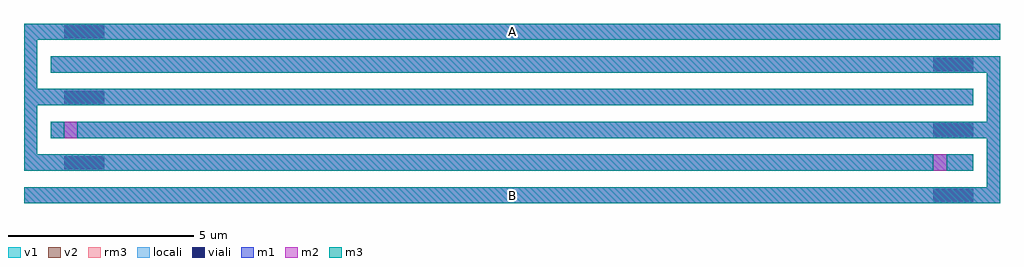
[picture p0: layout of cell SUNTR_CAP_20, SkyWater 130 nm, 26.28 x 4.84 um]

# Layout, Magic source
magic
tech sky130A
magscale 1 2
<< m1 >>
rect 108 -44 5364 44
rect 5292 44 5364 132
rect 108 132 5220 220
rect 5292 132 5364 220
rect 108 220 180 308
rect 5292 220 5364 308
rect 108 308 180 396
rect 252 308 5364 396
rect 108 396 180 484
rect 5292 396 5364 484
rect 108 484 5220 572
rect 5292 484 5364 572
rect 108 572 180 660
rect 5292 572 5364 660
rect 108 660 180 748
rect 252 660 5364 748
rect 108 748 180 836
rect 108 836 5364 924
<< m2 >>
rect 108 -44 5364 44
rect 5292 44 5364 132
rect 108 132 5220 220
rect 5292 132 5364 220
rect 108 220 180 308
rect 5292 220 5364 308
rect 108 308 180 396
rect 252 308 5364 396
rect 108 396 180 484
rect 5292 396 5364 484
rect 108 484 5220 572
rect 5292 484 5364 572
rect 108 572 180 660
rect 5292 572 5364 660
rect 108 660 180 748
rect 252 660 5364 748
rect 108 748 180 836
rect 108 836 5364 924
<< locali >>
rect 108 -44 5364 44
rect 5292 44 5364 132
rect 108 132 5220 220
rect 5292 132 5364 220
rect 108 220 180 308
rect 5292 220 5364 308
rect 108 308 180 396
rect 252 308 5364 396
rect 108 396 180 484
rect 5292 396 5364 484
rect 108 484 5220 572
rect 5292 484 5364 572
rect 108 572 180 660
rect 5292 572 5364 660
rect 108 660 180 748
rect 252 660 5364 748
rect 108 748 180 836
rect 108 836 5364 924
<< v1 >>
rect 5004 -35 5076 -26
rect 5004 -26 5076 -17
rect 5004 -17 5076 -8
rect 5004 -8 5076 0
rect 5004 0 5076 8
rect 5004 8 5076 17
rect 5004 17 5076 26
rect 5004 26 5076 35
rect 5076 -35 5148 -26
rect 5076 -26 5148 -17
rect 5076 -17 5148 -8
rect 5076 -8 5148 0
rect 5076 0 5148 8
rect 5076 8 5148 17
rect 5076 17 5148 26
rect 5076 26 5148 35
rect 5148 -35 5220 -26
rect 5148 -26 5220 -17
rect 5148 -17 5220 -8
rect 5148 -8 5220 0
rect 5148 0 5220 8
rect 5148 8 5220 17
rect 5148 17 5220 26
rect 5148 26 5220 35
rect 324 140 396 149
rect 324 149 396 158
rect 324 158 396 167
rect 324 167 396 176
rect 324 176 396 184
rect 324 184 396 193
rect 324 193 396 202
rect 324 202 396 211
rect 396 140 468 149
rect 396 149 468 158
rect 396 158 468 167
rect 396 167 468 176
rect 396 176 468 184
rect 396 184 468 193
rect 396 193 468 202
rect 396 202 468 211
rect 468 140 540 149
rect 468 149 540 158
rect 468 158 540 167
rect 468 167 540 176
rect 468 176 540 184
rect 468 184 540 193
rect 468 193 540 202
rect 468 202 540 211
rect 5004 316 5076 325
rect 5004 325 5076 334
rect 5004 334 5076 343
rect 5004 343 5076 352
rect 5004 352 5076 360
rect 5004 360 5076 369
rect 5004 369 5076 378
rect 5004 378 5076 387
rect 5076 316 5148 325
rect 5076 325 5148 334
rect 5076 334 5148 343
rect 5076 343 5148 352
rect 5076 352 5148 360
rect 5076 360 5148 369
rect 5076 369 5148 378
rect 5076 378 5148 387
rect 5148 316 5220 325
rect 5148 325 5220 334
rect 5148 334 5220 343
rect 5148 343 5220 352
rect 5148 352 5220 360
rect 5148 360 5220 369
rect 5148 369 5220 378
rect 5148 378 5220 387
rect 324 492 396 501
rect 324 501 396 510
rect 324 510 396 519
rect 324 519 396 528
rect 324 528 396 536
rect 324 536 396 545
rect 324 545 396 554
rect 324 554 396 563
rect 396 492 468 501
rect 396 501 468 510
rect 396 510 468 519
rect 396 519 468 528
rect 396 528 468 536
rect 396 536 468 545
rect 396 545 468 554
rect 396 554 468 563
rect 468 492 540 501
rect 468 501 540 510
rect 468 510 540 519
rect 468 519 540 528
rect 468 528 540 536
rect 468 536 540 545
rect 468 545 540 554
rect 468 554 540 563
rect 5004 668 5076 677
rect 5004 677 5076 686
rect 5004 686 5076 695
rect 5004 695 5076 704
rect 5004 704 5076 712
rect 5004 712 5076 721
rect 5004 721 5076 730
rect 5004 730 5076 739
rect 5076 668 5148 677
rect 5076 677 5148 686
rect 5076 686 5148 695
rect 5076 695 5148 704
rect 5076 704 5148 712
rect 5076 712 5148 721
rect 5076 721 5148 730
rect 5076 730 5148 739
rect 5148 668 5220 677
rect 5148 677 5220 686
rect 5148 686 5220 695
rect 5148 695 5220 704
rect 5148 704 5220 712
rect 5148 712 5220 721
rect 5148 721 5220 730
rect 5148 730 5220 739
rect 324 844 396 853
rect 324 853 396 862
rect 324 862 396 871
rect 324 871 396 880
rect 324 880 396 888
rect 324 888 396 897
rect 324 897 396 906
rect 324 906 396 915
rect 396 844 468 853
rect 396 853 468 862
rect 396 862 468 871
rect 396 871 468 880
rect 396 880 468 888
rect 396 888 468 897
rect 396 897 468 906
rect 396 906 468 915
rect 468 844 540 853
rect 468 853 540 862
rect 468 862 540 871
rect 468 871 540 880
rect 468 880 540 888
rect 468 888 540 897
rect 468 897 540 906
rect 468 906 540 915
<< v2 >>
rect 5004 -35 5076 -26
rect 5004 -26 5076 -17
rect 5004 -17 5076 -8
rect 5004 -8 5076 0
rect 5004 0 5076 8
rect 5004 8 5076 17
rect 5004 17 5076 26
rect 5004 26 5076 35
rect 5076 -35 5148 -26
rect 5076 -26 5148 -17
rect 5076 -17 5148 -8
rect 5076 -8 5148 0
rect 5076 0 5148 8
rect 5076 8 5148 17
rect 5076 17 5148 26
rect 5076 26 5148 35
rect 5148 -35 5220 -26
rect 5148 -26 5220 -17
rect 5148 -17 5220 -8
rect 5148 -8 5220 0
rect 5148 0 5220 8
rect 5148 8 5220 17
rect 5148 17 5220 26
rect 5148 26 5220 35
rect 324 140 396 149
rect 324 149 396 158
rect 324 158 396 167
rect 324 167 396 176
rect 324 176 396 184
rect 324 184 396 193
rect 324 193 396 202
rect 324 202 396 211
rect 396 140 468 149
rect 396 149 468 158
rect 396 158 468 167
rect 396 167 468 176
rect 396 176 468 184
rect 396 184 468 193
rect 396 193 468 202
rect 396 202 468 211
rect 468 140 540 149
rect 468 149 540 158
rect 468 158 540 167
rect 468 167 540 176
rect 468 176 540 184
rect 468 184 540 193
rect 468 193 540 202
rect 468 202 540 211
rect 5004 316 5076 325
rect 5004 325 5076 334
rect 5004 334 5076 343
rect 5004 343 5076 352
rect 5004 352 5076 360
rect 5004 360 5076 369
rect 5004 369 5076 378
rect 5004 378 5076 387
rect 5076 316 5148 325
rect 5076 325 5148 334
rect 5076 334 5148 343
rect 5076 343 5148 352
rect 5076 352 5148 360
rect 5076 360 5148 369
rect 5076 369 5148 378
rect 5076 378 5148 387
rect 5148 316 5220 325
rect 5148 325 5220 334
rect 5148 334 5220 343
rect 5148 343 5220 352
rect 5148 352 5220 360
rect 5148 360 5220 369
rect 5148 369 5220 378
rect 5148 378 5220 387
rect 324 492 396 501
rect 324 501 396 510
rect 324 510 396 519
rect 324 519 396 528
rect 324 528 396 536
rect 324 536 396 545
rect 324 545 396 554
rect 324 554 396 563
rect 396 492 468 501
rect 396 501 468 510
rect 396 510 468 519
rect 396 519 468 528
rect 396 528 468 536
rect 396 536 468 545
rect 396 545 468 554
rect 396 554 468 563
rect 468 492 540 501
rect 468 501 540 510
rect 468 510 540 519
rect 468 519 540 528
rect 468 528 540 536
rect 468 536 540 545
rect 468 545 540 554
rect 468 554 540 563
rect 5004 668 5076 677
rect 5004 677 5076 686
rect 5004 686 5076 695
rect 5004 695 5076 704
rect 5004 704 5076 712
rect 5004 712 5076 721
rect 5004 721 5076 730
rect 5004 730 5076 739
rect 5076 668 5148 677
rect 5076 677 5148 686
rect 5076 686 5148 695
rect 5076 695 5148 704
rect 5076 704 5148 712
rect 5076 712 5148 721
rect 5076 721 5148 730
rect 5076 730 5148 739
rect 5148 668 5220 677
rect 5148 677 5220 686
rect 5148 686 5220 695
rect 5148 695 5220 704
rect 5148 704 5220 712
rect 5148 712 5220 721
rect 5148 721 5220 730
rect 5148 730 5220 739
rect 324 844 396 853
rect 324 853 396 862
rect 324 862 396 871
rect 324 871 396 880
rect 324 880 396 888
rect 324 888 396 897
rect 324 897 396 906
rect 324 906 396 915
rect 396 844 468 853
rect 396 853 468 862
rect 396 862 468 871
rect 396 871 468 880
rect 396 880 468 888
rect 396 888 468 897
rect 396 897 468 906
rect 396 906 468 915
rect 468 844 540 853
rect 468 853 540 862
rect 468 862 540 871
rect 468 871 540 880
rect 468 880 540 888
rect 468 888 540 897
rect 468 897 540 906
rect 468 906 540 915
<< viali >>
rect 5004 -35 5076 -26
rect 5004 -26 5076 -17
rect 5004 -17 5076 -8
rect 5004 -8 5076 0
rect 5004 0 5076 8
rect 5004 8 5076 17
rect 5004 17 5076 26
rect 5004 26 5076 35
rect 5076 -35 5148 -26
rect 5076 -26 5148 -17
rect 5076 -17 5148 -8
rect 5076 -8 5148 0
rect 5076 0 5148 8
rect 5076 8 5148 17
rect 5076 17 5148 26
rect 5076 26 5148 35
rect 5148 -35 5220 -26
rect 5148 -26 5220 -17
rect 5148 -17 5220 -8
rect 5148 -8 5220 0
rect 5148 0 5220 8
rect 5148 8 5220 17
rect 5148 17 5220 26
rect 5148 26 5220 35
rect 324 140 396 149
rect 324 149 396 158
rect 324 158 396 167
rect 324 167 396 176
rect 324 176 396 184
rect 324 184 396 193
rect 324 193 396 202
rect 324 202 396 211
rect 396 140 468 149
rect 396 149 468 158
rect 396 158 468 167
rect 396 167 468 176
rect 396 176 468 184
rect 396 184 468 193
rect 396 193 468 202
rect 396 202 468 211
rect 468 140 540 149
rect 468 149 540 158
rect 468 158 540 167
rect 468 167 540 176
rect 468 176 540 184
rect 468 184 540 193
rect 468 193 540 202
rect 468 202 540 211
rect 5004 316 5076 325
rect 5004 325 5076 334
rect 5004 334 5076 343
rect 5004 343 5076 352
rect 5004 352 5076 360
rect 5004 360 5076 369
rect 5004 369 5076 378
rect 5004 378 5076 387
rect 5076 316 5148 325
rect 5076 325 5148 334
rect 5076 334 5148 343
rect 5076 343 5148 352
rect 5076 352 5148 360
rect 5076 360 5148 369
rect 5076 369 5148 378
rect 5076 378 5148 387
rect 5148 316 5220 325
rect 5148 325 5220 334
rect 5148 334 5220 343
rect 5148 343 5220 352
rect 5148 352 5220 360
rect 5148 360 5220 369
rect 5148 369 5220 378
rect 5148 378 5220 387
rect 324 492 396 501
rect 324 501 396 510
rect 324 510 396 519
rect 324 519 396 528
rect 324 528 396 536
rect 324 536 396 545
rect 324 545 396 554
rect 324 554 396 563
rect 396 492 468 501
rect 396 501 468 510
rect 396 510 468 519
rect 396 519 468 528
rect 396 528 468 536
rect 396 536 468 545
rect 396 545 468 554
rect 396 554 468 563
rect 468 492 540 501
rect 468 501 540 510
rect 468 510 540 519
rect 468 519 540 528
rect 468 528 540 536
rect 468 536 540 545
rect 468 545 540 554
rect 468 554 540 563
rect 5004 668 5076 677
rect 5004 677 5076 686
rect 5004 686 5076 695
rect 5004 695 5076 704
rect 5004 704 5076 712
rect 5004 712 5076 721
rect 5004 721 5076 730
rect 5004 730 5076 739
rect 5076 668 5148 677
rect 5076 677 5148 686
rect 5076 686 5148 695
rect 5076 695 5148 704
rect 5076 704 5148 712
rect 5076 712 5148 721
rect 5076 721 5148 730
rect 5076 730 5148 739
rect 5148 668 5220 677
rect 5148 677 5220 686
rect 5148 686 5220 695
rect 5148 695 5220 704
rect 5148 704 5220 712
rect 5148 712 5220 721
rect 5148 721 5220 730
rect 5148 730 5220 739
rect 324 844 396 853
rect 324 853 396 862
rect 324 862 396 871
rect 324 871 396 880
rect 324 880 396 888
rect 324 888 396 897
rect 324 897 396 906
rect 324 906 396 915
rect 396 844 468 853
rect 396 853 468 862
rect 396 862 468 871
rect 396 871 468 880
rect 396 880 468 888
rect 396 888 468 897
rect 396 897 468 906
rect 396 906 468 915
rect 468 844 540 853
rect 468 853 540 862
rect 468 862 540 871
rect 468 871 540 880
rect 468 880 540 888
rect 468 888 540 897
rect 468 897 540 906
rect 468 906 540 915
<< m3 >>
rect 108 -44 5364 44
rect 108 -44 5364 44
rect 5292 44 5364 132
rect 108 132 5004 220
rect 5076 132 5220 220
rect 5292 132 5364 220
rect 108 220 180 308
rect 5292 220 5364 308
rect 108 308 180 396
rect 252 308 324 396
rect 396 308 5364 396
rect 108 396 180 484
rect 5292 396 5364 484
rect 108 484 5220 572
rect 5292 484 5364 572
rect 108 572 180 660
rect 5292 572 5364 660
rect 108 660 180 748
rect 252 660 5364 748
rect 108 748 180 836
rect 108 836 5364 924
rect 108 836 5364 924
<< rm3 >>
rect 5004 132 5076 220
rect 324 308 396 396
<< labels >>
flabel m3 s 108 -44 5364 44 0 FreeSans 400 0 0 0 B
port 2 nsew
flabel m3 s 108 836 5364 924 0 FreeSans 400 0 0 0 A
port 1 nsew
<< end >>
